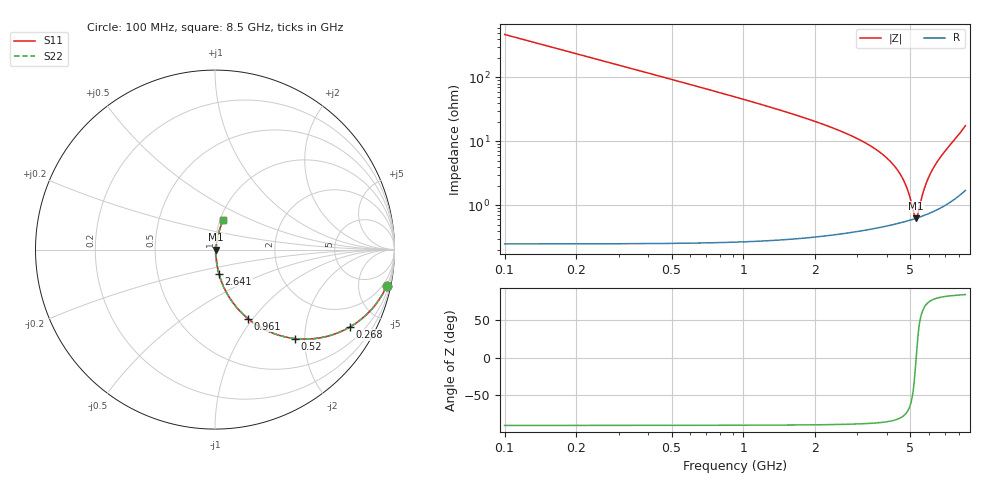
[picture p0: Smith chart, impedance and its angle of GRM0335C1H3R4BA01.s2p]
!Murata Part Number: GRM0335C1H3R4BA01
!These Parameters are Measured in Series Mode Connection
!Data Generated on Mar 30, 2021
!  o--ll--o
!Port1  Port2
!  o------o
!Operation Temp=25[degC], DC Bias Voltage=0[V]
!Freq. Start=100[MHz] Stop=9[GHz] 401[Steps]
# Hz S RI R 50
!Freq.(Hz) S11(Real) S11(Imag) S21(Real) S21(Imag) S12(Real) S12(Imag) S22(Real) S22(Imag)
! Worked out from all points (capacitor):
!   401 points, 100 MHz to 8.5 GHz, reference 50 ohm
!   read as one part in series: C = 3.4 pF near 142 MHz
!   lowest |Z| = 626 mohm at 5.287 GHz (marker M1)
!   series resonance near 5.286 GHz, so ESL is about 270 pH
!   S11 on the Smith chart (normalised r, x): 100 MHz: 1.00, -9.36; 268 MHz: 1.00, -3.49; 520 MHz: 1.01, -1.78; 961 MHz: 1.01, -0.95; 2.641 GHz: 1.01, -0.27; 8.5 GHz: 1.03, +0.35
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1e8  0.9562 -0.2043  0.0438 0.2043  0.0438 0.2043  0.9562 -0.2043
2.05e8  0.8384 -0.3675  0.1616 0.3675  0.1616 0.3675  0.8384 -0.3675
2.68e8  0.752 -0.4312  0.248 0.4312  0.248 0.4312  0.752 -0.4312
3.73e8  0.6093 -0.4869  0.3907 0.4869  0.3907 0.4869  0.6093 -0.4869
5.2e8  0.4435 -0.4954  0.5565 0.4954  0.5565 0.4954  0.4435 -0.4954
7.3e8  0.2851 -0.4494  0.7149 0.4494  0.7149 0.4494  0.2851 -0.4494
9.61e8  0.184 -0.3847  0.816 0.3847  0.816 0.3847  0.184 -0.3847
1.507e9  0.0788 -0.2644  0.9212 0.2644  0.9212 0.2644  0.0788 -0.2644
2.641e9  0.0218 -0.1335  0.9782 0.1335  0.9782 0.1335  0.0218 -0.1335
2.914e9  0.0169 -0.1136  0.9831 0.1136  0.9831 0.1136  0.0169 -0.1136
3.733e9  0.00888 -0.0661  0.9911 0.0661  0.9911 0.0661  0.00888 -0.0661
4.3e9  0.00661 -0.0398  0.9934 0.0398  0.9934 0.0398  0.00661 -0.0398
4.783e9  0.00595 -0.0197  0.9941 0.0197  0.9941 0.0197  0.00595 -0.0197
4.972e9  0.00594 -0.0122  0.9941 0.0122  0.9941 0.0122  0.00594 -0.0122
5.203e9  0.00611 -0.00318  0.9939 0.00318  0.9939 0.00318  0.00611 -0.00318
5.287e9  0.00622 5.33e-05  0.9938 -5.33e-05  0.9938 -5.33e-05  0.00622 5.33e-05
5.371e9  0.00635 0.00327  0.9936 -0.00327  0.9936 -0.00327  0.00635 0.00327
5.707e9  0.00714 0.0161  0.9929 -0.0161  0.9929 -0.0161  0.00714 0.0161
5.959e9  0.008 0.0257  0.992 -0.0257  0.992 -0.0257  0.008 0.0257
6.253e9  0.00932 0.0372  0.9907 -0.0372  0.9907 -0.0372  0.00932 0.0372
7.114e9  0.0157 0.0737  0.9843 -0.0737  0.9843 -0.0737  0.0157 0.0737
8.5e9  0.045 0.1643  0.955 -0.1643  0.955 -0.1643  0.045 0.1643
